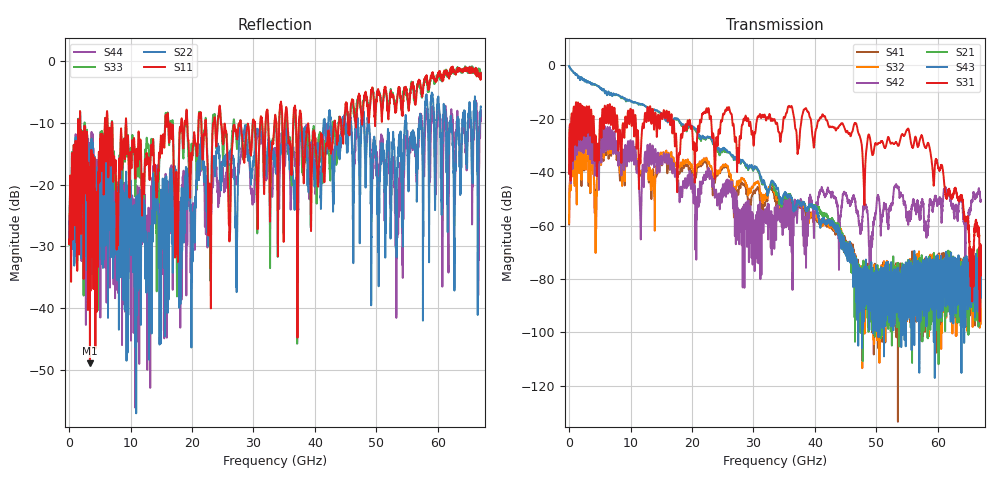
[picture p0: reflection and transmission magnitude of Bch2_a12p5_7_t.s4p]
!Agilent Technologies,N5247A,US51170199,A.09.90.13
!Agilent N5247A: A.09.90.13
!Date: Monday, October 22, 2018 16:20:05
!Correction: S11(Full 4 Port(1,2,3,4))
!S12(Full 4 Port(1,2,3,4))
!S13(Full 4 Port(1,2,3,4))
!S14(Full 4 Port(1,2,3,4))
!S21(Full 4 Port(1,2,3,4))
!S22(Full 4 Port(1,2,3,4))
!S23(Full 4 Port(1,2,3,4))
!S24(Full 4 Port(1,2,3,4))
!S31(Full 4 Port(1,2,3,4))
!S32(Full 4 Port(1,2,3,4))
!S33(Full 4 Port(1,2,3,4))
!S34(Full 4 Port(1,2,3,4))
!S41(Full 4 Port(1,2,3,4))
!S42(Full 4 Port(1,2,3,4))
!S43(Full 4 Port(1,2,3,4))
!S44(Full 4 Port(1,2,3,4))
!S4P File: Measurements: <S11,S12,S13,S14>,
!<S21,S22,S23,S24>,
!<S31,S32,S33,S34>,
!<S41,S42,S43,S44>:
# Hz S  dB  R 50
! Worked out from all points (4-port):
!   6701 points, 10 MHz to 67 GHz, reference 50 ohm
!   strongest paths, dB at 10 MHz, 16.76 GHz, 33.51 GHz, 50.25 GHz, 67 GHz:
!     S31: -40.5, -22.2, -20.8, -29.4, -67.6
!     S43: -0.3, -21.0, -44.6, -93.0, -80.9
!     S21: -0.3, -20.7, -46.8, -84.1, -80.8
!     S42: -40.6, -38.5, -57.0, -49.0, -50.7
!     S32: -59.0, -36.0, -48.3, -85.8, -83.1
!     S41: -59.5, -38.3, -50.4, -82.5, -82.1
!   lowest |S11| = -48.9 dB at 3.389 GHz (marker M1), VSWR 1.01, Z = 50 + j0.358 ohm
!   |S11| at or under -10 dB: 1.822 GHz to 5.831 GHz (4.009 GHz wide, 105 % of centre); 9.302 GHz to 15.63 GHz (6.328 GHz wide, 50.8 % of centre); 37.82 GHz to 43.1 GHz (5.282 GHz wide, 13.1 % of centre)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
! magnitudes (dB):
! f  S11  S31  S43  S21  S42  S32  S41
! 10 MHz  -29.6  -40.5  -0.3  -0.3  -40.6  -59.0  -59.5
! 3.389 GHz  -48.9  -24.0  -6.3  -6.3  -31.6  -35.9  -36.5
! 11.6 GHz  -12.8  -36.7  -14.6  -14.8  -57.3  -39.8  -40.8
! 12.98 GHz  -16.8  -20.8  -15.9  -15.8  -37.7  -42.0  -43.9
! 30.27 GHz  -10.3  -25.4  -38.3  -38.7  -59.4  -44.5  -47.6
! 55.07 GHz  -5.4  -23.8  -85.0  -82.5  -55.3  -78.9  -81.1
! 67 GHz  -1.9  -67.6  -80.9  -80.8  -50.7  -83.1  -82.1
